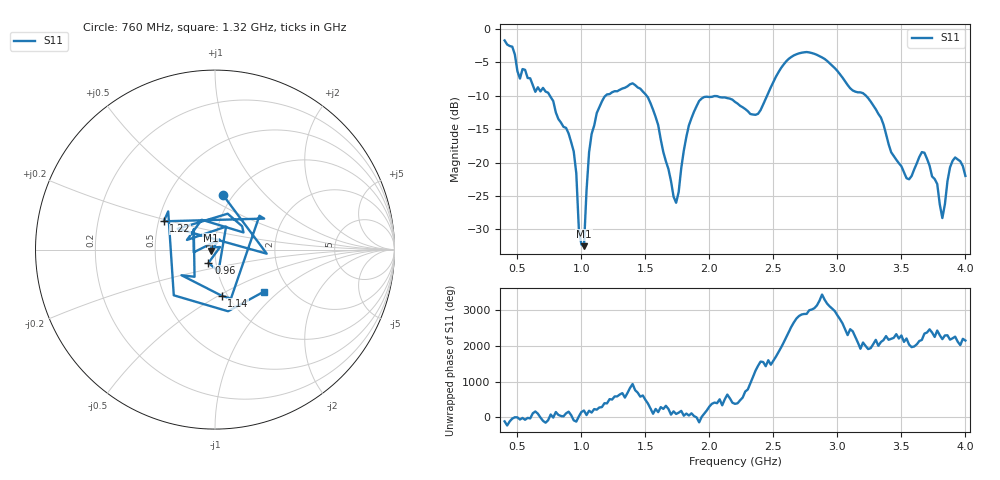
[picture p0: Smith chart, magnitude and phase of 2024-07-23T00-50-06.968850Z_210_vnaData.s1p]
!Created with skrf (http://scikit-rf.org).
# Hz S RI R 50.0
!freq ReS11 ImS11
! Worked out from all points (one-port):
!   181 points, 400 MHz to 4 GHz, reference 50 ohm
!   lowest |S11| = -32.5 dB at 1.02 GHz (marker M1), VSWR 1.05, Z = 47.7 - j0.509 ohm
!   |S11| at or under -10 dB: 754.4 MHz to 1.188 GHz (433.4 MHz wide, 44.6 % of centre); 1.51 GHz to 2.45 GHz (939.9 MHz wide, 47.5 % of centre); 3.224 GHz to end of sweep
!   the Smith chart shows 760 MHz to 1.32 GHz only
!   S11 on the Smith chart (normalised r, x): 760 MHz: 0.89, +0.61; 960 MHz: 0.92, -0.14; 1.14 GHz: 0.94, -0.52; 1.22 GHz: 0.53, +0.19; 1.32 GHz: 1.49, -0.80
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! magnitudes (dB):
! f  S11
! 400 MHz  -1.7
! 520 MHz  -7.4
! 760 MHz  -10.2
! 860 MHz  -14.6
! 960 MHz  -21.6
! 980 MHz  -30.0
! 1.02 GHz  -32.5
! 1.06 GHz  -18.5
! 1.14 GHz  -11.7
! 1.22 GHz  -9.7
! 1.3 GHz  -9.1
! 1.32 GHz  -8.9
! 1.52 GHz  -10.2
! 1.72 GHz  -25.1
! 1.76 GHz  -24.4
! 1.84 GHz  -14.4
! 1.92 GHz  -10.8
! 2.2 GHz  -10.9
! 2.38 GHz  -12.7
! 2.66 GHz  -3.9
! 3.1 GHz  -8.9
! 3.3 GHz  -12.0
! 3.56 GHz  -22.5
! 3.68 GHz  -18.5
! 3.78 GHz  -23.2
! 3.82 GHz  -28.3
! 3.9 GHz  -19.7
! 4 GHz  -22.0
